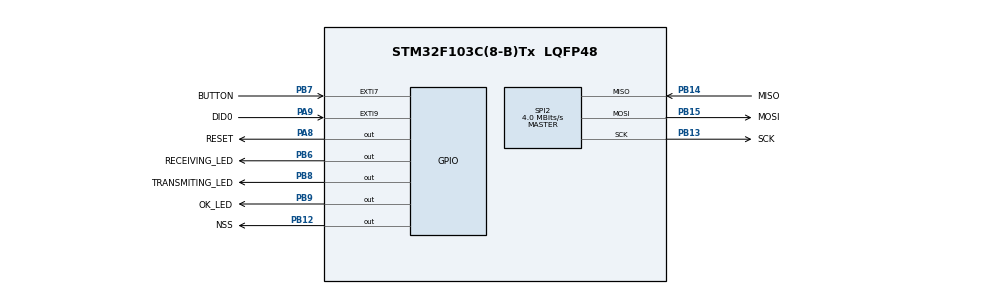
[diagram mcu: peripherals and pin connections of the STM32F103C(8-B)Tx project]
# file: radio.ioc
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Mcu.Family=STM32F1
Mcu.Name=STM32F103C(8-B)Tx
Mcu.Package=LQFP48
NVIC.EXTI9_5_IRQn=true\:0\:0\:false\:false\:true\:true\:true\:true
NVIC.PriorityGroup=NVIC_PRIORITYGROUP_4
PA13.Mode=Serial_Wire
PA13.Signal=SYS_JTMS-SWDIO
PA14.Mode=Serial_Wire
PA14.Signal=SYS_JTCK-SWCLK
PA8.GPIO_Label=RESET
PA8.PinState=GPIO_PIN_SET
PA8.Signal=GPIO_Output
PA9.GPIO_Label=DID0
PA9.Signal=GPXTI9
PB12.GPIO_Label=NSS
PB12.PinState=GPIO_PIN_SET
PB12.Signal=GPIO_Output
PB13.GPIO_Label=SCK
PB13.Mode=Full_Duplex_Master
PB13.Signal=SPI2_SCK
PB14.GPIO_Label=MISO
PB14.Mode=Full_Duplex_Master
PB14.Signal=SPI2_MISO
PB15.GPIO_Label=MOSI
PB15.Mode=Full_Duplex_Master
PB15.Signal=SPI2_MOSI
PB6.GPIO_Label=RECEIVING_LED
PB6.Signal=GPIO_Output
PB7.GPIO_Label=BUTTON
PB7.GPIO_ModeDefaultEXTI=GPIO_MODE_IT_RISING
PB7.GPIO_PuPd=GPIO_PULLDOWN
PB7.Signal=GPXTI7
PB8.GPIO_Label=TRANSMITING_LED
PB8.Signal=GPIO_Output
PB9.GPIO_Label=OK_LED
PB9.Signal=GPIO_Output
ProjectManager.HeapSize=0x200
ProjectManager.StackSize=0x400
ProjectManager.TargetToolchain=STM32CubeIDE
RCC.APB1Freq_Value=8000000
RCC.APB2Freq_Value=8000000
SPI2.CalculateBaudRate=4.0 MBits/s
SPI2.Direction=SPI_DIRECTION_2LINES
SPI2.Mode=SPI_MODE_MASTER
SPI2.VirtualType=VM_MASTER
board=custom

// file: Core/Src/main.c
/* USER CODE BEGIN Header */
/**
  ******************************************************************************
  * @file           : main.c
  * @brief          : Main program body
  ******************************************************************************
  * @attention
  *
  * Copyright (c) 2025 STMicroelectronics.
  * All rights reserved.
  *
  * This software is licensed under terms that can be found in the LICENSE file
  * in the root directory of this software component.
  * If no LICENSE file comes with this software, it is provided AS-IS.
  *
  ******************************************************************************
  */
/* USER CODE END Header */
#include "main.h"

/* USER CODE BEGIN Includes */
#include "LoRa.h"
#include <string.h>
#include <stdio.h>
#include <../Inc/commands.h>
#include "packet.h"

#include "Util/id.h"

/* USER CODE END Includes */

/* USER CODE BEGIN PD */
#define UNIQUE_ID_BASE 0x1FFFF7E8U
/* USER CODE END PD */

SPI_HandleTypeDef hspi2;

void SystemClock_Config(void);
static void MX_GPIO_Init(void);
static void MX_SPI2_Init(void);
/* USER CODE BEGIN PFP */
volatile uint8_t button_pressed = 0;
/* USER CODE END PFP */

/* USER CODE BEGIN 0 */
LoRa myLoRa;
static uint8_t msg_counter = 0;
uint8_t received_data[10];
volatile bool light_received_led = false;

uint8_t next_msg_id(void);

/* USER CODE END 0 */

int main(void)
{

  /* MCU Configuration--------------------------------------------------------*/

  /* Reset of all peripherals, Initializes the Flash interface and the Systick. */
  HAL_Init();

  /* Configure the system clock */
  SystemClock_Config();

  /* Initialize all configured peripherals */
  MX_GPIO_Init();
  MX_SPI2_Init();
  /* USER CODE BEGIN 2 */
  node_id_init();

  myLoRa = newLoRa();
  myLoRa.CS_port         = NSS_GPIO_Port;
  myLoRa.CS_pin          = NSS_Pin;
  myLoRa.reset_port      = RESET_GPIO_Port;
  myLoRa.reset_pin       = RESET_Pin;
  myLoRa.DIO0_port       = DID0_GPIO_Port;
  myLoRa.DIO0_pin        = DID0_Pin;
  myLoRa.hSPIx           = &hspi2;

  uint16_t LoRa_status = LoRa_init(&myLoRa); // TODO : check status with  a warning
  LoRa_startReceiving(&myLoRa);

  /* USER CODE END 2 */

  /* Infinite loop */
  /* USER CODE BEGIN WHILE */
  while (1)
  {
      if(button_pressed){
              button_pressed = 0; // clear flag
              MeshPacket pkt;
              Commands cmd = MOVE_FORWARD;
              mesh_build_packet(&pkt,0x00,0x01,FLAG_ACK_REQ ,next_msg_id(),(uint8_t*)&cmd,1);
              uint8_t* temp_p = (uint8_t*)&pkt; // i need this for Lora_transmit
              uint8_t total_len = offsetof(MeshPacket, payload) + pkt.length + 1; // +1 for CRC

              if(LoRa_transmit(&myLoRa, temp_p, total_len, 100)){
                  HAL_GPIO_WritePin(TRANSMITING_LED_GPIO_Port,TRANSMITING_LED_Pin,1);
                  HAL_Delay(100);
                  HAL_GPIO_WritePin(TRANSMITING_LED_GPIO_Port,TRANSMITING_LED_Pin,0);
              }
          }

    if (light_received_led) {
      HAL_GPIO_WritePin(RECEIVING_LED_GPIO_Port,RECEIVING_LED_Pin,1);
      HAL_Delay(100);
      HAL_GPIO_WritePin(RECEIVING_LED_GPIO_Port,RECEIVING_LED_Pin,0);
      light_received_led = false;
    }
       HAL_Delay(500);

    /* USER CODE END WHILE */

  }
}

void SystemClock_Config(void)
{
  RCC_OscInitTypeDef RCC_OscInitStruct = {0};
  RCC_ClkInitTypeDef RCC_ClkInitStruct = {0};

  /** Initializes the RCC Oscillators according to the specified parameters
  * in the RCC_OscInitTypeDef structure.
  */
  RCC_OscInitStruct.OscillatorType = RCC_OSCILLATORTYPE_HSI;
  RCC_OscInitStruct.HSIState = RCC_HSI_ON;
  RCC_OscInitStruct.HSICalibrationValue = RCC_HSICALIBRATION_DEFAULT;
  RCC_OscInitStruct.PLL.PLLState = RCC_PLL_NONE;
  if (HAL_RCC_OscConfig(&RCC_OscInitStruct) != HAL_OK)
  {
    Error_Handler();
  }

  /** Initializes the CPU, AHB and APB buses clocks
  */
  RCC_ClkInitStruct.ClockType = RCC_CLOCKTYPE_HCLK|RCC_CLOCKTYPE_SYSCLK
                              |RCC_CLOCKTYPE_PCLK1|RCC_CLOCKTYPE_PCLK2;
  RCC_ClkInitStruct.SYSCLKSource = RCC_SYSCLKSOURCE_HSI;
  RCC_ClkInitStruct.AHBCLKDivider = RCC_SYSCLK_DIV1;
  RCC_ClkInitStruct.APB1CLKDivider = RCC_HCLK_DIV1;
  RCC_ClkInitStruct.APB2CLKDivider = RCC_HCLK_DIV1;

  if (HAL_RCC_ClockConfig(&RCC_ClkInitStruct, FLASH_LATENCY_0) != HAL_OK)
  {
    Error_Handler();
  }
}

static void MX_SPI2_Init(void)
{

  /* SPI2 parameter configuration*/
  hspi2.Instance = SPI2;
  hspi2.Init.Mode = SPI_MODE_MASTER;
  hspi2.Init.Direction = SPI_DIRECTION_2LINES;
  hspi2.Init.DataSize = SPI_DATASIZE_8BIT;
  hspi2.Init.CLKPolarity = SPI_POLARITY_LOW;
  hspi2.Init.CLKPhase = SPI_PHASE_1EDGE;
  hspi2.Init.NSS = SPI_NSS_SOFT;
  hspi2.Init.BaudRatePrescaler = SPI_BAUDRATEPRESCALER_2;
  hspi2.Init.FirstBit = SPI_FIRSTBIT_MSB;
  hspi2.Init.TIMode = SPI_TIMODE_DISABLE;
  hspi2.Init.CRCCalculation = SPI_CRCCALCULATION_DISABLE;
  hspi2.Init.CRCPolynomial = 10;
  if (HAL_SPI_Init(&hspi2) != HAL_OK)
  {
    Error_Handler();
  }

}

static void MX_GPIO_Init(void)
{
  GPIO_InitTypeDef GPIO_InitStruct = {0};

  /* GPIO Ports Clock Enable */
  __HAL_RCC_GPIOB_CLK_ENABLE();
  __HAL_RCC_GPIOA_CLK_ENABLE();

  /*Configure GPIO pin Output Level */
  HAL_GPIO_WritePin(NSS_GPIO_Port, NSS_Pin, GPIO_PIN_SET);

  /*Configure GPIO pin Output Level */
  HAL_GPIO_WritePin(RESET_GPIO_Port, RESET_Pin, GPIO_PIN_SET);

  /*Configure GPIO pin Output Level */
  HAL_GPIO_WritePin(GPIOB, RECEIVING_LED_Pin|TRANSMITING_LED_Pin|OK_LED_Pin, GPIO_PIN_RESET);

  /*Configure GPIO pins : NSS_Pin RECEIVING_LED_Pin TRANSMITING_LED_Pin OK_LED_Pin */
  GPIO_InitStruct.Pin = NSS_Pin|RECEIVING_LED_Pin|TRANSMITING_LED_Pin|OK_LED_Pin;
  GPIO_InitStruct.Mode = GPIO_MODE_OUTPUT_PP;
  GPIO_InitStruct.Pull = GPIO_NOPULL;
  GPIO_InitStruct.Speed = GPIO_SPEED_FREQ_LOW;
  HAL_GPIO_Init(GPIOB, &GPIO_InitStruct);

  /*Configure GPIO pin : RESET_Pin */
  GPIO_InitStruct.Pin = RESET_Pin;
  GPIO_InitStruct.Mode = GPIO_MODE_OUTPUT_PP;
  GPIO_InitStruct.Pull = GPIO_NOPULL;
  GPIO_InitStruct.Speed = GPIO_SPEED_FREQ_LOW;
  HAL_GPIO_Init(RESET_GPIO_Port, &GPIO_InitStruct);

  /*Configure GPIO pin : DID0_Pin */
  GPIO_InitStruct.Pin = DID0_Pin;
  GPIO_InitStruct.Mode = GPIO_MODE_IT_RISING;
  GPIO_InitStruct.Pull = GPIO_NOPULL;
  HAL_GPIO_Init(DID0_GPIO_Port, &GPIO_InitStruct);

  /*Configure GPIO pin : BUTTON_Pin */
  GPIO_InitStruct.Pin = BUTTON_Pin;
  GPIO_InitStruct.Mode = GPIO_MODE_IT_RISING;
  GPIO_InitStruct.Pull = GPIO_PULLDOWN;
  HAL_GPIO_Init(BUTTON_GPIO_Port, &GPIO_InitStruct);

  /* EXTI interrupt init*/
  HAL_NVIC_SetPriority(EXTI9_5_IRQn, 0, 0);
  HAL_NVIC_EnableIRQ(EXTI9_5_IRQn);

}

/* USER CODE BEGIN 4 */
uint8_t next_msg_id(void) {
  return msg_counter++;  // wraps automatically at 255 → 0
}

void HAL_GPIO_EXTI_Callback(uint16_t GPIO_Pin)
{
    if(GPIO_Pin == BUTTON_Pin){
        button_pressed =1;

//              HAL_Delay(1000);
//              HAL_GPIO_WritePin(RECIVED__LED_GPIO_Port, RECIVED__LED_Pin, 0);
    }

  if (GPIO_Pin == DID0_Pin) {
    uint8_t packet_size = LoRa_receive(&myLoRa, received_data, sizeof(received_data));
    light_received_led = true;
    if (packet_size > 0) {
      MeshPacket *pkt = (MeshPacket*) (received_data, packet_size);

      if (pkt->payload ==MOVE_FORWARD) {
        light_received_led =true;
      }

    }

  }
}

/* USER CODE END 4 */

void Error_Handler(void)
{
  __disable_irq();
  while (1)
  {
  }
}
